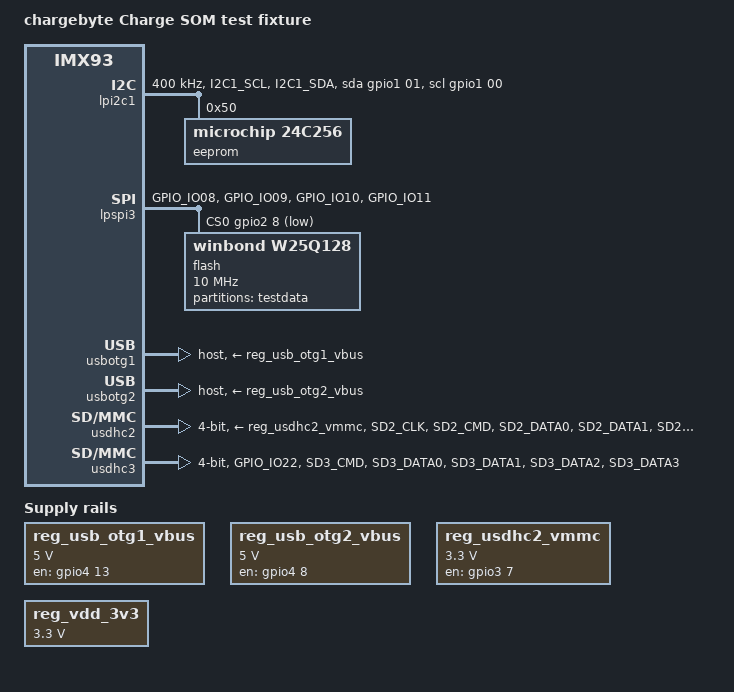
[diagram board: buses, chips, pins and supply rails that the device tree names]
// SPDX-License-Identifier: (GPL-2.0+ OR MIT)
/*
 * Copyright (C) 2025 chargebyte GmbH
 */

/dts-v1/;

#include <dt-bindings/input/input.h>
#include <dt-bindings/leds/common.h>
#include "imx93-charge-som.dtsi"

/ {
	model = "chargebyte Charge SOM test fixture";
	compatible = "chargebyte,imx93-charge-som-testfixture", "chargebyte,imx93-charge-som",
		     "phytec,imx93-phycore-som", "fsl,imx93";

	reg_usb_otg1_vbus: regulator-usb-otg1-vbus {
		pinctrl-names = "default";
		pinctrl-0 = <&pinctrl_usbotg1grp>;
		compatible = "regulator-fixed";
		regulator-name = "usb_otg1_vbus";
		regulator-min-microvolt = <5000000>;
		regulator-max-microvolt = <5000000>;
		gpio = <&gpio4 13 GPIO_ACTIVE_HIGH>;
		enable-active-high;
		regulator-boot-on;
	};

	reg_usb_otg2_vbus: regulator-usb-otg2-vbus {
		pinctrl-names = "default";
		pinctrl-0 = <&pinctrl_usbotg2grp>;
		compatible = "regulator-fixed";
		regulator-name = "usb_otg2_vbus";
		regulator-min-microvolt = <5000000>;
		regulator-max-microvolt = <5000000>;
		gpio = <&gpio4 8 GPIO_ACTIVE_HIGH>;
		enable-active-high;
		regulator-boot-on;
	};

	reg_usdhc2_vmmc: regulator-usdhc2 {
		compatible = "regulator-fixed";
		gpio = <&gpio3 7 GPIO_ACTIVE_HIGH>;
		enable-active-high;
		pinctrl-names = "default";
		pinctrl-0 = <&pinctrl_reg_usdhc2_vmmc>;
		regulator-max-microvolt = <3300000>;
		regulator-min-microvolt = <3300000>;
		regulator-name = "VCC_SD";
	};

	reg_vdd_3v3: regulator-vdd-3v3 {
		compatible = "regulator-fixed";
		regulator-max-microvolt = <3300000>;
		regulator-min-microvolt = <3300000>;
		regulator-name = "VDD_IO_3V3";
	};

	// Avoid conflict with Heartbeat LED on phyCore
	/delete-node/ leds;
};

&lpi2c1 {
	clock-frequency = <400000>;
	pinctrl-names = "default", "gpio";
	pinctrl-0 = <&pinctrl_lpi2c1>;
	pinctrl-1 = <&pinctrl_lpi2c1_gpio>;
	scl-gpios = <&gpio1 00 (GPIO_ACTIVE_HIGH | GPIO_OPEN_DRAIN)>;
	sda-gpios = <&gpio1 01 (GPIO_ACTIVE_HIGH | GPIO_OPEN_DRAIN)>;
	#address-cells = <1>;
	#size-cells = <0>;
	status = "okay";

	eeprom@50 {
		compatible = "microchip,24c256";
		reg = <0x50>;
		pagesize = <64>;
	};
};

&lpspi3 {
	pinctrl-names = "default";
	pinctrl-0 = <&pinctrl_lpspi3>;
	num-cs = <1>;
	cs-gpios = <&gpio2 8 GPIO_ACTIVE_LOW>;
	status = "okay";

	flash@0 {
		compatible = "winbond,w25q128", "jedec,spi-nor";
		reg = <0>;
		spi-max-frequency = <10000000>;
		#address-cells = <1>;
		#size-cells = <1>;

		partitions {
				compatible = "fixed-partitions";
				#address-cells = <1>;
				#size-cells = <1>;

				partition@0 {
						label = "testdata";
						reg = <0x0 0x100000>; // 1 MB
				};
		};
	};
};

&usbotg1 {
	vbus-supply = <&reg_usb_otg1_vbus>;
	over-current-active-low;
	dr_mode = "host";
	status = "okay";
};

&usbotg2 {
	vbus-supply = <&reg_usb_otg2_vbus>;
	disable-over-current;
	dr_mode = "host";
	status = "okay";
};

&gpio1 {
	pinctrl-names = "default";
	pinctrl-0 = <&pinctrl_hog1>;
	// 16 pins (0..15)
	gpio-line-names = "I2C1_SCL", "I2C1_SDA", "", "", "", "", "LPUART2_RX", "LPUART2_TX", "CAN1_TX", "CAN1_RX", \
			  "CHSTOP_IN", "SPI_TPM_nCS0", "", "", "", "";
};

&gpio2 {
	pinctrl-names = "default";
	pinctrl-0 = <&pinctrl_hog2>;
	// 30 pins (0..29)
	gpio-line-names = "SPI_PLC_nCS0", "", "", "", "", "", "", "SPI_PLC_nINT0", "X11_SPI_EXT_CS0", "X11_SPI_EXT_MISO", \
			  "X11_SPI_EXT_MOSI", "X11_SPI_EXT_CLK", "", "", "LPUART4_TX", "LPUART4_RX", "", "LPUART4_RTS_B", "BACKLIGHT_PWM", "", \
			  "", "", "X11_I2C5_SDA", "X11_I2C5_SCL", "USER_RED", "X11_CAN2_TX", "X11_PWM5_3", "X11_CAN2_RX", "", "";
};

&gpio3 {
	pinctrl-names = "default";
	pinctrl-0 = <&pinctrl_hog3>, <&pinctrl_clko>;
	// 32 pins (0..31)
	gpio-line-names = "SD2_nCD", "", "", "", "", "", "", "SD2_nRESET", "", "", \
			  "", "", "", "", "", "", "", "", "", "", \
			  "SOM_EMMC_nRESET", "X11_SD3_CMD", "X11_SD3_D0", "X11_SD3_D1", "X11_SD3_D2", "X11_SD3_D3", "X11_GPIO3_26", "X11_GPIO3_27", "LPUART5_RX", "LPUART5_RTS_B", \
			  "PCIe_NW_DISABLE", "LPUART5_TX";
};

&gpio4 {
	pinctrl-names = "default";
	pinctrl-0 = <&pinctrl_gpio4>, <&pinctrl_hog4>, <&pinctrl_ws2812b>;
	// 30 pins (0..29)
	gpio-line-names = "USB1_ID", "", "RTC_nINT", "USB2_OC", "USB1_OC", "", "PCIe_N_RESET", "DL_REQ_INTR_SPI", "USB2_PWREN", "nPLC_RESET_INT", \
			  "", "WS2812B", "SAFETY_BOOTMODE_SET", "USB1_PWREN_GPIO", "", "", "DISPLAY_EN", "", "", "", \
			  "", "SOM_EEPROM_WP", "", "SOM_RESET_PHY", "", "", "CAN1_EN", "PMIC_IRQ_B", "nSAFETY_RESET_INT", "SPI_TPM_nINT0";
};

/* SD card 1: limited to 50 MHz due to long cable by omitting pin mode 100/200 MHz */
&usdhc2 {
	pinctrl-names = "default";
	pinctrl-0 = <&pinctrl_usdhc2_default>, <&pinctrl_usdhc2_cd>;
	cd-gpios = <&gpio3 00 GPIO_ACTIVE_LOW>;
	vmmc-supply = <&reg_usdhc2_vmmc>;
	bus-width = <4>;
	disable-wp;
	no-sdio;
	no-mmc;
	status = "okay";
};

/* SD card 2: limited to 50 MHz due to long cable by omitting pin mode 100/200 MHz;
 * no Card Detect pin used here */
&usdhc3 {
	pinctrl-names = "default";
	pinctrl-0 = <&pinctrl_usdhc3_default>;
	bus-width = <4>;
	broken-cd;
	no-sdio;
	no-mmc;
	no-1-8-v;
	status = "okay";
};

&iomuxc {

	/delete-node/ pinctrl_leds;

	pinctrl_reg_usdhc2_vmmc: regusdhc2vmmcgrp {
		fsl,pins = <
			MX93_PAD_SD2_RESET_B__GPIO3_IO07	0x31e
		>;
	};

	pinctrl_usdhc2_cd: usdhc2cdgrp {
		fsl,pins = <
			MX93_PAD_SD2_CD_B__GPIO3_IO00		0x31e
		>;
	};

	/* need to config the SION for data and cmd pad, refer to ERR052021 */
	pinctrl_usdhc2_default: usdhc2grp {
		fsl,pins = <
			MX93_PAD_SD2_CLK__USDHC2_CLK		0x179e
			MX93_PAD_SD2_CMD__USDHC2_CMD		0x4000139e
			MX93_PAD_SD2_DATA0__USDHC2_DATA0	0x4000138e
			MX93_PAD_SD2_DATA1__USDHC2_DATA1	0x4000138e
			MX93_PAD_SD2_DATA2__USDHC2_DATA2	0x4000138e
			MX93_PAD_SD2_DATA3__USDHC2_DATA3	0x4000139e
			MX93_PAD_SD2_VSELECT__USDHC2_VSELECT	0x51e
		>;
	};

	pinctrl_usdhc3_default: usdhc3grp {
		fsl,pins = <
			MX93_PAD_GPIO_IO22__USDHC3_CLK		0x179e
			MX93_PAD_SD3_CMD__USDHC3_CMD		0x4000139e
			MX93_PAD_SD3_DATA0__USDHC3_DATA0	0x4000138e
			MX93_PAD_SD3_DATA1__USDHC3_DATA1	0x4000138e
			MX93_PAD_SD3_DATA2__USDHC3_DATA2	0x4000138e
			MX93_PAD_SD3_DATA3__USDHC3_DATA3	0x4000139e
		>;
	};

	pinctrl_lpi2c1: lpi2c1grp {
		/* sion, drive strength: X2, slew rate: fast, pull up, open drain */
		fsl,pins = <
			MX93_PAD_I2C1_SCL__LPI2C1_SCL		0x40000b86
			MX93_PAD_I2C1_SDA__LPI2C1_SDA		0x40000b86
		>;
	};

	pinctrl_lpi2c1_gpio: lpi2c1gpiogrp {
		fsl,pins = <
			MX93_PAD_I2C1_SCL__GPIO1_IO00		0x40000b9e
			MX93_PAD_I2C1_SDA__GPIO1_IO01		0x40000b9e
		>;
	};

	pinctrl_lpspi3: lpspi3grp {
		/* drive strength: X2, slew rate: fast, no pull */
		fsl,pins = <
			MX93_PAD_GPIO_IO08__GPIO2_IO08		0x186 // SPI_EXT_CS0
			MX93_PAD_GPIO_IO09__LPSPI3_SIN		0x186
			MX93_PAD_GPIO_IO10__LPSPI3_SOUT		0x186
			MX93_PAD_GPIO_IO11__LPSPI3_SCK		0x186
		>;
	};

	pinctrl_usbotg1grp: usb1grp {
		fsl,pins = <
			MX93_PAD_ENET1_TD1__HSIOMIX_OTG_OC1	0x31e
			MX93_PAD_ENET1_RD3__GPIO4_IO13		0x31e // USB1_PWREN_GPIO
			// MX93_PAD_ENET1_MDIO__HSIOMIX_OTG_PWR1 not connected
		>;
	};

	pinctrl_usbotg2grp: usb2grp {
		fsl,pins = <
			MX93_PAD_ENET1_TD2__HSIOMIX_OTG_OC2	0x31e // unused
			MX93_PAD_ENET1_RX_CTL__GPIO4_IO08	0x31e // USB2_PWREN
		>;
	};

	pinctrl_hog1: hog1grp {
		fsl,pins = <
			MX93_PAD_UART2_RXD__GPIO1_IO06		0x31e // LPUART2_RX
			MX93_PAD_UART2_TXD__GPIO1_IO07		0x31e // LPUART2_TX
			MX93_PAD_PDM_CLK__GPIO1_IO08		0x31e // CAN1_TX
			MX93_PAD_PDM_BIT_STREAM0__GPIO1_IO09	0x31e // CAN1_RX
			MX93_PAD_PDM_BIT_STREAM1__GPIO1_IO10	0x31e // CHSTOP_IN
		>;
	};

	pinctrl_hog2: hog2grp {
		fsl,pins = <
			MX93_PAD_GPIO_IO14__GPIO2_IO14		0x31e // LPUART4_TX
			MX93_PAD_GPIO_IO15__GPIO2_IO15		0x31e // LPUART4_RX
			MX93_PAD_GPIO_IO17__GPIO2_IO17		0x31e // LPUART4_RTS_B
			MX93_PAD_GPIO_IO18__GPIO2_IO18		0x31e // BACKLIGHT_PWM
			MX93_PAD_GPIO_IO23__GPIO2_IO23		0x31e // X11_I2C5_SCL
			MX93_PAD_GPIO_IO24__GPIO2_IO24		0x31e // USER_RED
			MX93_PAD_GPIO_IO25__GPIO2_IO25		0x31e // X11_CAN2_RX
			MX93_PAD_GPIO_IO26__GPIO2_IO26		0x31e // X11_PWM5_3
			MX93_PAD_GPIO_IO27__GPIO2_IO27		0x31e // X11_CAN2_TX
		>;
	};

	pinctrl_hog3: hog3grp {
		fsl,pins = <
			MX93_PAD_DAP_TDI__GPIO3_IO28		0x31e // LPUART5_RX
			MX93_PAD_DAP_TMS_SWDIO__GPIO3_IO29	0x31e // LPUART5_RTS_B
			MX93_PAD_DAP_TCLK_SWCLK__GPIO3_IO30	0x31e // PCIe_NW_DISABLE
			MX93_PAD_DAP_TDO_TRACESWO__GPIO3_IO31	0x31e // LPUART5_TX
		>;
	};

	pinctrl_hog4: hog4grp {
		fsl,pins = <
			MX93_PAD_ENET1_TD3__GPIO4_IO02		0x31e // RTC_nINT
			MX93_PAD_ENET1_TX_CTL__GPIO4_IO06	0x31e // PCIe_N_RESET
			MX93_PAD_ENET2_TD3__GPIO4_IO16		0x31e // DISPLAY_EN
			MX93_PAD_ENET2_RD2__GPIO4_IO26		0x31e // CAN1_EN
		>;
	};

	pinctrl_ws2812b: ws2812b {
		fsl,pins = <
			MX93_PAD_ENET1_RD1__GPIO4_IO11		0x31e // WS2812B
		>;
	};

	pinctrl_clko: clkogrp {
		fsl,pins = <
			MX93_PAD_CCM_CLKO1__GPIO3_IO26		0x31e // X11_GPIO3_26
			MX93_PAD_CCM_CLKO2__GPIO3_IO27		0x31e // X11_GPIO3_27
		>;
	};
};
